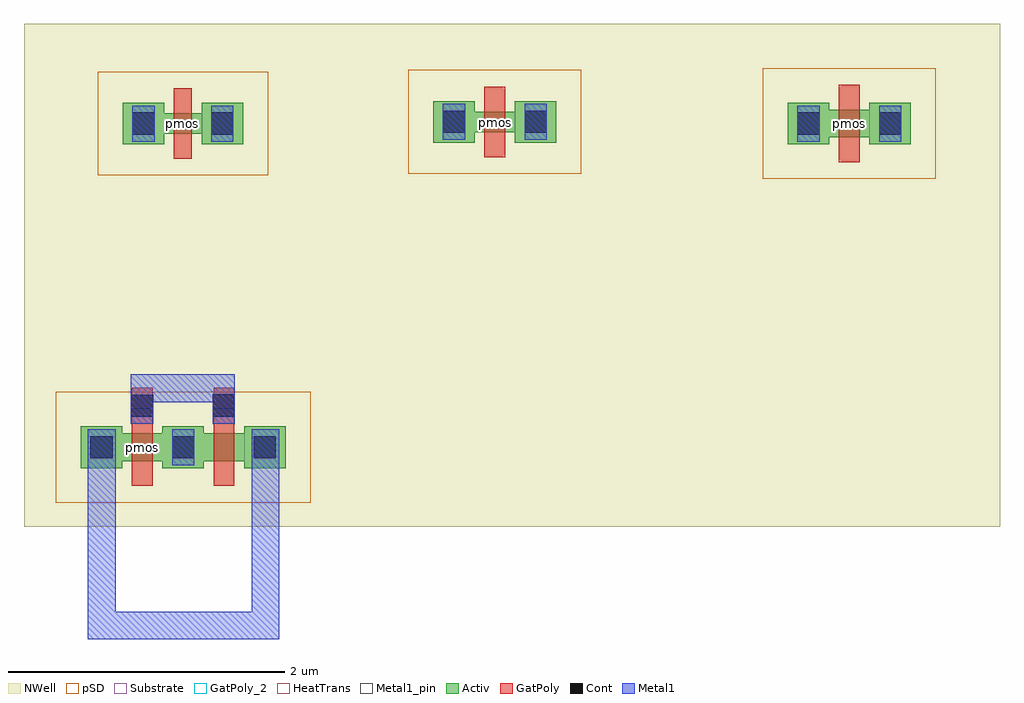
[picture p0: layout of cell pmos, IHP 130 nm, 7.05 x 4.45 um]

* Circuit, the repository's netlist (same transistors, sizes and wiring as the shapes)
*==========================================================================
* Copyright 2024 IHP PDK Authors
*
* Licensed under the Apache License, Version 2.0 (the "License");
* you may not use this file except in compliance with the License.
* You may obtain a copy of the License at
*
*    https://www.apache.org/licenses/LICENSE-2.0
*
* Unless required by applicable law or agreed to in writing, software
* distributed under the License is distributed on an "AS IS" BASIS,
* WITHOUT WARRANTIES OR CONDITIONS OF ANY KIND, either express or implied.
* See the License for the specific language governing permissions and
* limitations under the License.
* SPDX-License-Identifier: Apache-2.0
*==========================================================================

.SUBCKT pmos
MP1 D1 G1 S1 B sg13_lv_pmos m=1 w=150.00n l=130.00n ng=1
MP2 D2 G2 S2 B sg13_lv_pmos m=1 w=150.00n l=150.00n ng=1
MP3 D3 G3 S3 B sg13_lv_pmos m=1 w=200.00n l=150.00n ng=1
MP4 D4 G4 S4 B sg13_lv_pmos m=1 w=400.00n l=150.00n ng=2
.ENDS

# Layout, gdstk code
import gdstk
lib = gdstk.Library(unit=1e-6, precision=1e-09)
def R(c, l, rs):  # rectangles x0, y0, x1, y1
    for r in rs: c.add(gdstk.rectangle(r[:2], r[2:], *l))
def A(c, l, x, y, w, h, nx, ny, dx, dy):  # array of equal rectangles
    R(c, l, [(x+i*dx, y+j*dy, x+i*dx+w, y+j*dy+h) for i in range(nx) for j in range(ny)])
Activ = (1, 0)
GatPoly = (5, 0)
GatPoly_2 = (5, 2)
Cont = (6, 0)
Metal1 = (8, 0)
Metal1_pin = (8, 2)
pSD = (14, 0)
NWell = (31, 0)
Substrate = (40, 0)
HeatTrans = (51, 0)

pmos = lib.new_cell('pmos')
A(pmos, Activ, -0.303, -2.338, 0.3, 0.3, 3, 1, 0.59, 0)
R(pmos, Activ, [(-0.303,-2.288,1.177,-2.088), (0,0,0.3,0.3), (0.57,0,0.87,0.3), (4.804,0,5.104,0.3), (5.394,0,5.694,0.3), (2.243,0.012,2.543,0.312), (2.833,0.012,3.133,0.312), (4.804,0.05,5.694,0.25), (0,0.075,0.87,0.225), (2.243,0.087,3.133,0.237)])
R(pmos, GatPoly, [(0.067,-2.468,0.217,-1.759), (0.657,-2.468,0.807,-1.757), (5.174,-0.13,5.324,0.43), (0.37,-0.105,0.5,0.405), (2.613,-0.093,2.763,0.417)])
R(pmos, GatPoly_2, [(0.37,-0.105,0.5,0.405)])
A(pmos, Cont, -0.233, -2.268, 0.16, 0.16, 3, 1, 0.59, 0)
R(pmos, Cont, [(0.059,-1.969,0.219,-1.809), (0.65,-1.967,0.81,-1.807), (0.07,0.07,0.23,0.23), (0.64,0.07,0.8,0.23), (4.874,0.07,5.034,0.23), (5.464,0.07,5.624,0.23), (2.313,0.082,2.473,0.242), (2.903,0.082,3.063,0.242)])
R(pmos, Metal1, [(-0.233,-2.318,-0.073,-2.058), (-0.233,-2.318,-0.073,-2.058), (-0.233,-2.318,-0.073,-2.058), (0.357,-2.318,0.517,-2.058), (0.357,-2.318,0.517,-2.058), (0.357,-2.318,0.517,-2.058), (0.947,-2.318,1.107,-2.058), (0.059,-2.019,0.219,-1.759), (0.65,-2.017,0.81,-1.757), (0.07,0.02,0.23,0.28), (0.64,0.02,0.8,0.28), (4.874,0.02,5.034,0.28), (4.874,0.02,5.034,0.28), (4.874,0.02,5.034,0.28), (5.464,0.02,5.624,0.28), (5.464,0.02,5.624,0.28), (5.464,0.02,5.624,0.28), (2.313,0.032,2.473,0.292), (2.313,0.032,2.473,0.292), (2.313,0.032,2.473,0.292), (2.903,0.032,3.063,0.292), (2.903,0.032,3.063,0.292), (2.903,0.032,3.063,0.292)])
R(pmos, Metal1_pin, [(0.07,0.02,0.23,0.28), (0.64,0.02,0.8,0.28)])
R(pmos, pSD, [(-0.483,-2.588,1.357,-1.788), (4.624,-0.25,5.874,0.55), (-0.18,-0.225,1.05,0.525), (2.063,-0.213,3.313,0.537)])
R(pmos, NWell, [(-0.713,-2.761,6.337,0.871), (-0.613,-2.648,1.487,-1.728), (-0.31,-0.31,1.18,0.61), (4.494,-0.31,6.004,0.61), (1.933,-0.298,3.443,0.622)])
R(pmos, Substrate, [(0.877,-2.338,1.177,-2.038), (0.877,-2.338,1.177,-2.038), (0.57,0,0.87,0.3), (5.394,0,5.694,0.3), (5.394,0,5.694,0.3), (2.833,0.012,3.133,0.312), (2.833,0.012,3.133,0.312)])
R(pmos, HeatTrans, [(0.067,-2.468,0.217,-1.908), (0.657,-2.468,0.807,-1.908), (5.174,-0.13,5.324,0.43), (2.613,-0.093,2.763,0.417), (0.37,0.075,0.5,0.225)])
pmos.add(gdstk.FlexPath([(0.059,-1.762),(0.81,-1.762)], 0.2, ends="flush", simple_path=True, layer=8, datatype=0))  # Metal1
pmos.add(gdstk.FlexPath([(1.032,-2.058),(1.032,-3.475),(-0.152,-3.475),(-0.152,-2.058)], 0.2, ends="flush", simple_path=True, layer=8, datatype=0))  # Metal1
pmos.add(gdstk.Label('pmos', (2.69,0.16), layer=63, texttype=0))
pmos.add(gdstk.Label('pmos', (5.25,0.15), layer=63, texttype=0))
pmos.add(gdstk.Label('pmos', (0.14,-2.19), layer=63, texttype=0))
pmos.add(gdstk.Label('pmos', (0.435,0.15), layer=63, texttype=0))
pmos.add(gdstk.Label('pmos', (0.435,0.15), layer=51, texttype=0))

lib.write_gds('pmos.gds')
